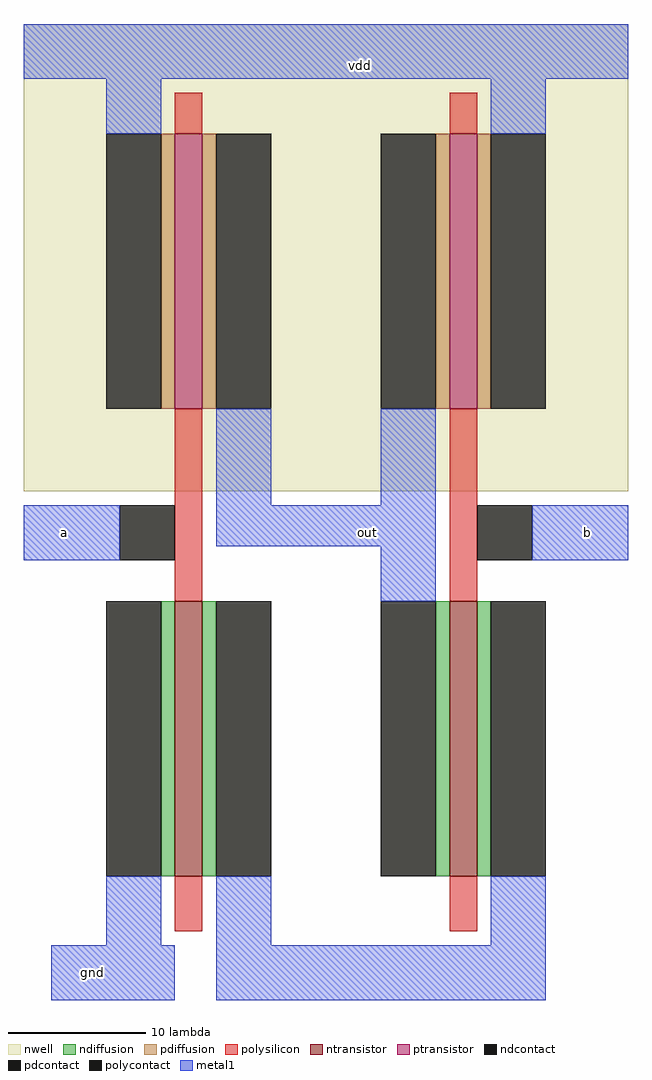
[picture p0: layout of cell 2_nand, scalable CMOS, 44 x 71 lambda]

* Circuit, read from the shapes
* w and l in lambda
.subckt 2_nand a b gnd out vdd
M1 n1 a gnd VSUBS nfet w=20 l=2
M2 n1 b out VSUBS nfet w=20 l=2
M3 out a vdd n2 pfet w=20 l=2
M4 vdd b out n2 pfet w=20 l=2
.ends

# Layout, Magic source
magic
tech scmos
<< nwell >>
rect -44 29 0 63
<< ntransistor >>
rect -33 1 -31 21
rect -13 1 -11 21
<< ptransistor >>
rect -33 35 -31 55
rect -13 35 -11 55
<< ndiffusion >>
rect -34 1 -33 21
rect -31 1 -30 21
rect -14 1 -13 21
rect -11 1 -10 21
<< pdiffusion >>
rect -34 35 -33 55
rect -31 35 -30 55
rect -14 35 -13 55
rect -11 35 -10 55
<< ndcontact >>
rect -38 1 -34 21
rect -30 1 -26 21
rect -18 1 -14 21
rect -10 1 -6 21
<< pdcontact >>
rect -38 35 -34 55
rect -30 35 -26 55
rect -18 35 -14 55
rect -10 35 -6 55
<< polysilicon >>
rect -33 55 -31 58
rect -13 55 -11 58
rect -33 21 -31 35
rect -13 21 -11 35
rect -33 -3 -31 1
rect -13 -3 -11 1
<< polycontact >>
rect -37 24 -33 28
rect -11 24 -7 28
<< metal1 >>
rect -44 59 0 63
rect -38 55 -34 59
rect -10 55 -6 59
rect -30 28 -26 35
rect -18 28 -14 35
rect -44 24 -37 28
rect -30 25 -14 28
rect -18 21 -14 25
rect -7 24 0 28
rect -38 -4 -34 1
rect -30 -4 -26 1
rect -10 -4 -6 1
rect -42 -8 -33 -4
rect -30 -8 -6 -4
<< labels >>
rlabel metal1 -26 59 -13 61 5 vdd
rlabel metal1 -43 25 -39 27 3 a
rlabel metal1 -21 25 -17 27 1 out
rlabel metal1 -41 -7 -37 -5 2 gnd
rlabel metal1 -5 25 -1 27 7 b
<< end >>
